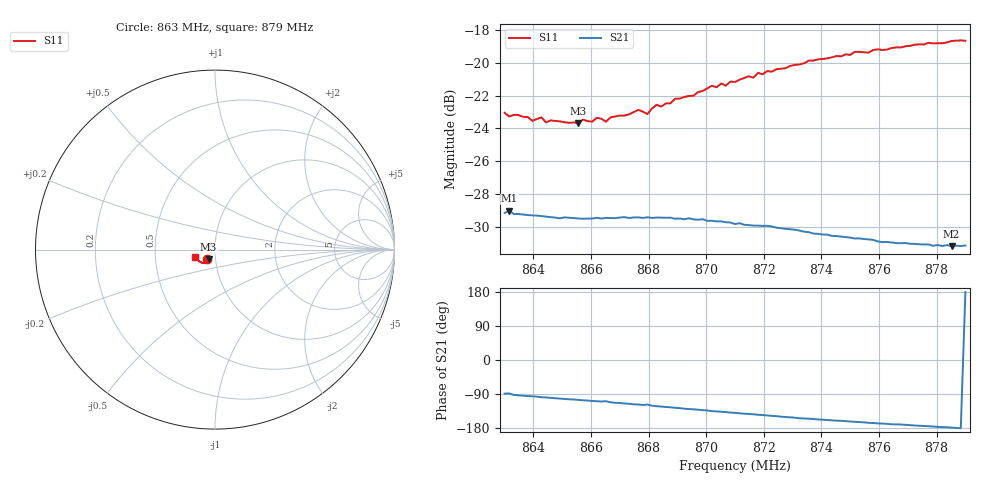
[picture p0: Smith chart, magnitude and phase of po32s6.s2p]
# HZ S RI R 50
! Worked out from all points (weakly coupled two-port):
!   101 points, 863 MHz to 879 MHz, reference 50 ohm
!   highest |S21| = -29.01 dB at 863.16 MHz (marker M1); lowest = -31.2 dB at 878.52 MHz (marker M2)
!   lowest |S11| = -23.7 dB at 865.56 MHz (marker M3), VSWR 1.14, Z = 46.2 - j5.06 ohm
!   |S11| at or under -10 dB: start of sweep to end of sweep
!   S12 and S22 are empty: the file has one direction only
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8.63e8  -0.0451 -0.0541  0.000674 -0.0349  0 0  0 0
8.6316e8  -0.0406 -0.0553  0.00105 -0.0354  0 0  0 0
8.6332e8  -0.0438 -0.0538  -0.00133 -0.0346  0 0  0 0
8.6396e8  -0.0406 -0.0528  -0.00344 -0.0341  0 0  0 0
8.6428e8  -0.0402 -0.055  -0.00491 -0.0338  0 0  0 0
8.6444e8  -0.0387 -0.0532  -0.00522 -0.0336  0 0  0 0
8.6556e8  -0.0362 -0.0545  -0.00889 -0.0324  0 0  0 0
8.6572e8  -0.0364 -0.0564  -0.00939 -0.0322  0 0  0 0
8.6604e8  -0.0344 -0.0565  -0.0105 -0.0319  0 0  0 0
8.662e8  -0.0354 -0.0579  -0.0108 -0.0319  0 0  0 0
8.6652e8  -0.0305 -0.0587  -0.0108 -0.0319  0 0  0 0
8.6764e8  -0.0354 -0.0625  -0.0155 -0.0301  0 0  0 0
8.6796e8  -0.0307 -0.0626  -0.0157 -0.03  0 0  0 0
8.6828e8  -0.0356 -0.0654  -0.0179 -0.0287  0 0  0 0
8.6844e8  -0.0348 -0.0648  -0.0183 -0.0284  0 0  0 0
8.702e8  -0.0439 -0.0728  -0.0234 -0.0234  0 0  0 0
8.71e8  -0.0469 -0.0737  -0.0246 -0.021  0 0  0 0
8.718e8  -0.0543 -0.0757  -0.026 -0.0185  0 0  0 0
8.7372e8  -0.0683 -0.075  -0.0275 -0.0125  0 0  0 0
8.7644e8  -0.0921 -0.0616  -0.0279 -0.00509  0 0  0 0
8.7852e8  -0.1072 -0.0453  -0.0276 -0.000752  0 0  0 0
8.79e8  -0.1095 -0.0399  -0.0278 0.00044  0 0  0 0
